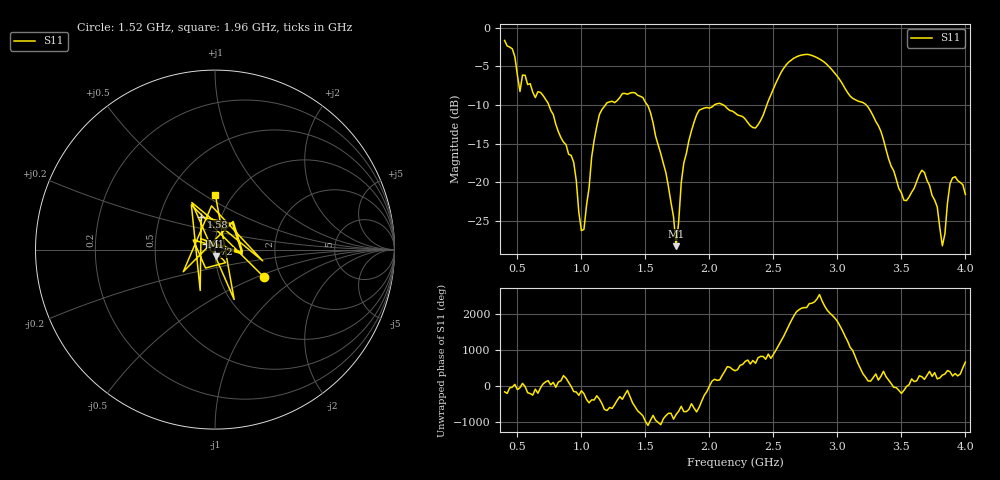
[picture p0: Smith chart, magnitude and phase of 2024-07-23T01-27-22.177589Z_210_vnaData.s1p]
!Created with skrf (http://scikit-rf.org).
# Hz S RI R 50.0
!freq ReS11 ImS11
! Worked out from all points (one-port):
!   181 points, 400 MHz to 4 GHz, reference 50 ohm
!   lowest |S11| = -28.3 dB at 1.74 GHz (marker M1), VSWR 1.08, Z = 50.4 - j3.85 ohm
!   |S11| at or under -10 dB: 745.1 MHz to 1.188 GHz (442.7 MHz wide, 45.8 % of centre); 1.515 GHz to 2.038 GHz (522.9 MHz wide, 29.4 % of centre); 3.225 GHz to end of sweep (the widest 3 of 4)
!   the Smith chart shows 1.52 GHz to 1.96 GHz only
!   S11 on the Smith chart (normalised r, x): 1.52 GHz: 1.63, -0.55; 1.58 GHz: 0.81, +0.31; 1.72 GHz: 0.90, +0.06; 1.96 GHz: 0.84, +0.56
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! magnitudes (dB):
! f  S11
! 400 MHz  -1.6
! 480 MHz  -3.7
! 520 MHz  -8.3
! 680 MHz  -8.4
! 860 MHz  -14.8
! 940 MHz  -17.4
! 1 GHz  -26.3
! 1.02 GHz  -26.1
! 1.14 GHz  -11.3
! 1.3 GHz  -9.0
! 1.52 GHz  -10.1
! 1.58 GHz  -14.1
! 1.72 GHz  -24.5
! 1.74 GHz  -28.3
! 1.76 GHz  -25.1
! 1.8 GHz  -17.5
! 1.96 GHz  -10.4
! 2.2 GHz  -11.0
! 2.36 GHz  -13.0
! 2.66 GHz  -3.9
! 3.1 GHz  -8.9
! 3.26 GHz  -10.8
! 3.56 GHz  -21.9
! 3.68 GHz  -18.7
! 3.78 GHz  -23.2
! 3.82 GHz  -28.2
! 3.9 GHz  -19.4
! 4 GHz  -21.6
